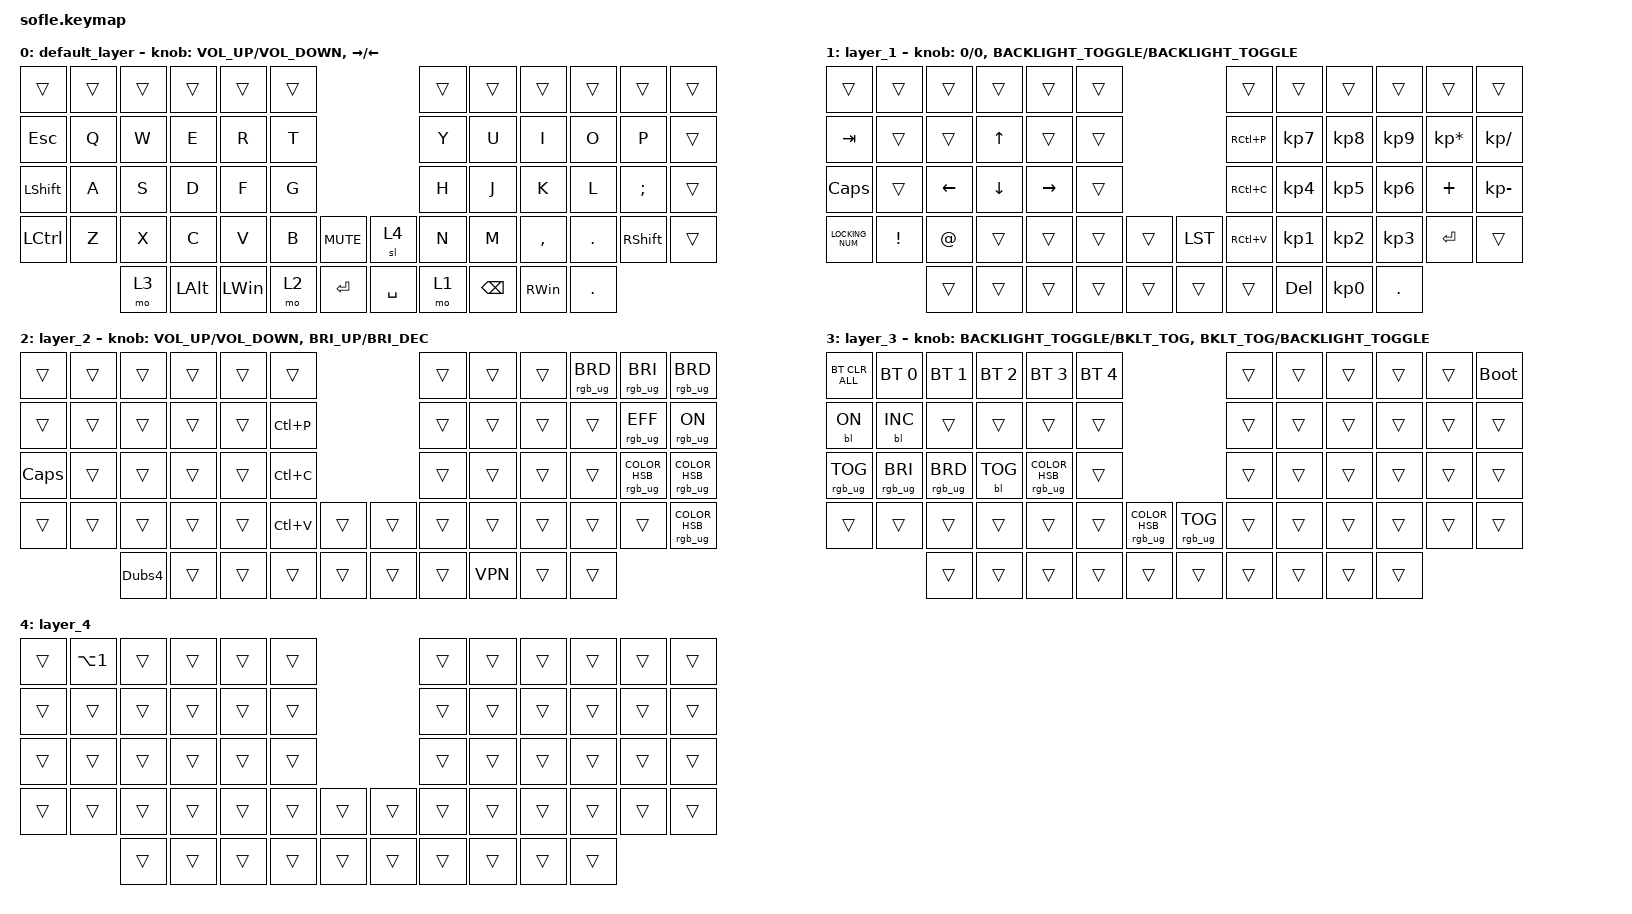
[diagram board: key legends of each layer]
/*
 * Copyright (c) 2020 The ZMK Contributors
 *
 * SPDX-License-Identifier: MIT
 */

#include <behaviors.dtsi>
#include <dt-bindings/zmk/backlight.h>
#include <dt-bindings/zmk/bt.h>
#include <dt-bindings/zmk/keys.h>
#include <dt-bindings/zmk/rgb.h>

&led_strip { chain-length = <29>; };

/ {
    combos {
        compatible = "zmk,combos";

        Home {
            bindings = <&to 0>;
            key-positions = <55 54>;
            layers = <0>;
        };
    };

    macros {
        Sheets: Sheets {
            compatible = "zmk,behavior-macro";
            label = "SHEETS";
            #binding-cells = <0>;
            bindings =
                <&kp SPACE &kp LS(S) &kp H &kp E &kp E &kp T &kp S>,
                <&macro_press>;
        };

        Dubs4: new_macro2 {
            compatible = "zmk,behavior-macro";
            #binding-cells = <0>;
            bindings =
                <&kp LS(D) &kp U &kp B &kp B &kp E &kp R &kp LS(V) &kp I &kp O &kp L &kp E &kp T &kp N2 &kp N1 &kp EXCL>,
                <&macro_press>;

            label = "NEW_MACRO2";
        };

        VPN: new_macro3 {
            compatible = "zmk,behavior-macro";
            #binding-cells = <0>;
            bindings =
                <&kp V &kp P &kp N &kp N2 &kp DOT &kp J &kp B &kp P &kp C &kp O &kp DOT &kp N &kp E &kp T>,
                <&macro_press>;

            label = "NEW_MACRO3";
        };

        LST: LST {
            compatible = "zmk,behavior-macro";
            #binding-cells = <0>;
            bindings = <&kp LS(L) &kp LS(S) &kp LS(T)>, <&macro_press>;

            label = "LST";
        };
    };

    keymap {
        compatible = "zmk,keymap";

        default_layer {
            // ------------------------------------------------------------------------------------------------------------
            // |  `    |  1  |  2  |  3   |  4   |  5   |                   |  6   |  7    |  8    |  9   |   0   |       |
            // |  ESC  |  Q  |  W  |  E   |  R   |  T   |                   |  Y   |  U    |  I    |  O   |   P   | BKSPC |
            // |  TAB  |  A  |  S  |  D   |  F   |  G   |                   |  H   |  J    |  K    |  L   |   ;   |   '   |
            // | SHIFT |  Z  |  X  |  C   |  V   |  B   |  MUTE  |  |       |  N   |  M    |  ,    |  .   |   /   | SHIFT |
            //               | GUI | ALT  | CTRL | LOWER|  ENTER |  | SPACE | RAISE| CTRL  | ALT   | GUI  |

            bindings = <
&trans            &trans  &trans  &trans    &trans    &trans                           &trans  &trans         &trans     &trans      &trans           &trans
&kp ESCAPE        &kp Q   &kp W   &kp E     &kp R     &kp T                            &kp Y   &kp U          &kp I      &kp O       &kp P            &trans
&kp LEFT_SHIFT    &kp A   &kp S   &kp D     &kp F     &kp G                            &kp H   &kp J          &kp K      &kp L       &kp SEMI         &trans
&kp LEFT_CONTROL  &kp Z   &kp X   &kp C     &kp V     &kp B   &kp C_MUTE    &sl 4      &kp N   &kp M          &kp COMMA  &kp DOT     &kp RIGHT_SHIFT  &trans
                          &mo 3   &kp LALT  &kp LWIN  &mo 2   &kp ENTER     &kp SPACE  &mo 1   &kp BACKSPACE  &kp RWIN   &kp PERIOD
            >;

            sensor-bindings =
                <&inc_dec_kp K_VOLUME_UP K_VOLUME_DOWN>,
                <&inc_dec_kp RIGHT LEFT>;
        };

        layer_1 {
            bindings = <
&trans           &trans           &trans          &trans          &trans           &trans                    &trans     &trans      &trans     &trans      &trans           &trans
&kp TAB          &trans           &trans          &kp UP_ARROW    &trans           &trans                    &kp RC(P)  &kp KP_N7   &kp KP_N8  &kp KP_N9   &kp KP_MULTIPLY  &kp KP_DIVIDE
&kp CAPS         &trans           &kp LEFT_ARROW  &kp DOWN_ARROW  &kp RIGHT_ARROW  &trans                    &kp RC(C)  &kp KP_N4   &kp KP_N5  &kp KP_N6   &kp PLUS         &kp KP_MINUS
&kp LOCKING_NUM  &kp EXCLAMATION  &kp AT          &trans          &trans           &trans  &trans    &LST    &kp RC(V)  &kp KP_N1   &kp KP_N2  &kp KP_N3   &kp ENTER        &trans
                                  &trans          &trans          &trans           &trans  &trans    &trans  &trans     &kp DELETE  &kp KP_N0  &kp PERIOD
            >;

            sensor-bindings =
                <&inc_dec_kp 0 0>,
                <&inc_dec_kp C_BACKLIGHT_TOGGLE C_BACKLIGHT_TOGGLE>;
        };

        layer_2 {
            bindings = <
&trans    &trans  &trans  &trans  &trans  &trans                       &trans  &trans  &trans  &rgb_ug RGB_BRD  &rgb_ug RGB_BRI                  &rgb_ug RGB_BRD
&trans    &trans  &trans  &trans  &trans  &kp LC(P)                    &trans  &trans  &trans  &trans           &rgb_ug RGB_EFF                  &rgb_ug RGB_ON
&kp CAPS  &trans  &trans  &trans  &trans  &kp LC(C)                    &trans  &trans  &trans  &trans           &rgb_ug RGB_COLOR_HSB(0,100,39)  &rgb_ug RGB_COLOR_HSB(0,0,100)
&trans    &trans  &trans  &trans  &trans  &kp LC(V)  &trans    &trans  &trans  &trans  &trans  &trans           &trans                           &rgb_ug RGB_COLOR_HSB(106,100,50)
                  &Dubs4  &trans  &trans  &trans     &trans    &trans  &trans  &VPN    &trans  &trans
            >;

            sensor-bindings =
                <&inc_dec_kp C_VOLUME_UP C_VOLUME_DOWN>,
                <&inc_dec_kp C_BRI_UP C_BRIGHTNESS_DEC>;
        };

        layer_3 {
            bindings = <
&bt BT_CLR_ALL   &bt BT_SEL 0     &bt BT_SEL 1     &bt BT_SEL 2  &bt BT_SEL 3                     &bt BT_SEL 4                                                      &trans  &trans  &trans  &trans  &trans  &bootloader
&bl BL_ON        &bl BL_INC       &trans           &trans        &trans                           &trans                                                            &trans  &trans  &trans  &trans  &trans  &trans
&rgb_ug RGB_TOG  &rgb_ug RGB_BRI  &rgb_ug RGB_BRD  &bl BL_TOG    &rgb_ug RGB_COLOR_HSB(0,100,98)  &trans                                                            &trans  &trans  &trans  &trans  &trans  &trans
&trans           &trans           &trans           &trans        &trans                           &trans        &rgb_ug RGB_COLOR_HSB(0,100,37)    &rgb_ug RGB_TOG  &trans  &trans  &trans  &trans  &trans  &trans
                                  &trans           &trans        &trans                           &trans        &trans                             &trans           &trans  &trans  &trans  &trans
            >;

            sensor-bindings =
                <&inc_dec_kp C_BACKLIGHT_TOGGLE C_BKLT_TOG>,
                <&inc_dec_kp C_BKLT_TOG C_BACKLIGHT_TOGGLE>;
        };

        layer_4 {
            bindings = <
&trans  &kp LA(NUMBER_1)  &trans  &trans  &trans  &trans                    &trans  &trans  &trans  &trans  &trans  &trans
&trans  &trans            &trans  &trans  &trans  &trans                    &trans  &trans  &trans  &trans  &trans  &trans
&trans  &trans            &trans  &trans  &trans  &trans                    &trans  &trans  &trans  &trans  &trans  &trans
&trans  &trans            &trans  &trans  &trans  &trans  &trans    &trans  &trans  &trans  &trans  &trans  &trans  &trans
                          &trans  &trans  &trans  &trans  &trans    &trans  &trans  &trans  &trans  &trans
            >;
        };
    };
};
